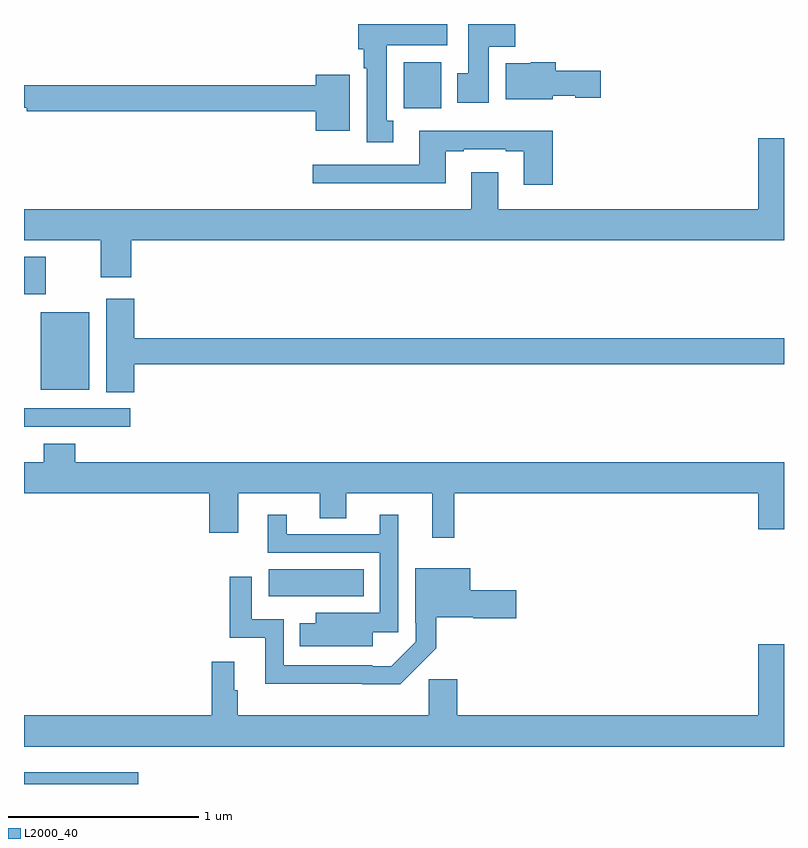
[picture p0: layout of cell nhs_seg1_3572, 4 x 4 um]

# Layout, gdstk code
import gdstk
lib = gdstk.Library(unit=1e-6, precision=1e-09)
def R(c, l, rs):  # rectangles x0, y0, x1, y1
    for r in rs: c.add(gdstk.rectangle(r[:2], r[2:], *l))
def P(c, l, *ps):  # polygons
    for p in ps: c.add(gdstk.Polygon(p, *l))
L2000_40 = (2000, 40)

nhs_seg1_3572 = lib.new_cell('nhs_seg1_3572')
R(nhs_seg1_3572, L2000_40, [(305,554.199,305.602,554.26), (306.288,555.188,306.788,555.328), (305,556.08,305.56,556.176), (305.087,556.274,305.344,556.681), (305,556.776,305.115,556.975), (306.998,557.756,307.195,557.998), (306.515,558.198,306.667,558.199)])
P(nhs_seg1_3572, L2000_40, [(307.447,558.08),(307.586,558.08),(307.586,558.199),(307.337,558.199),(307.337,557.94),(307.28,557.94),(307.28,557.784),(307.447,557.784)],
  [(306.943,557.69),(306.91,557.69),(306.91,558.086),(307.228,558.086),(307.228,558.199),(306.758,558.199),(306.758,558.066),(306.788,558.066),(306.788,557.966),(306.803,557.966),(306.803,557.577),(306.943,557.577)],
  [(307.782,557.822),(307.902,557.822),(307.902,557.81),(308.035,557.81),(308.035,557.952),(307.799,557.952),(307.799,557.998),(307.668,557.998),(307.668,557.992),(307.535,557.992),(307.535,557.804),(307.782,557.804)],
  [(306.715,557.932),(306.536,557.932),(306.536,557.876),(305,557.876),(305,557.759),(305.014,557.759),(305.014,557.74),(306.536,557.74),(306.536,557.636),(306.715,557.636)],
  [(307.784,557.638),(307.079,557.638),(307.079,557.457),(306.519,557.457),(306.519,557.36),(307.219,557.36),(307.219,557.529),(307.315,557.529),(307.315,557.541),(307.535,557.541),(307.535,557.529),(307.631,557.529),(307.631,557.352),(307.784,557.352)],
  [(309,557.599),(308.864,557.599),(308.864,557.224),(307.495,557.224),(307.495,557.419),(307.355,557.419),(307.355,557.224),(305,557.224),(305,557.06),(305.404,557.06),(305.404,556.866),(305.564,556.866),(305.564,557.06),(309,557.06)],
  [(305.579,556.408),(309,556.408),(309,556.544),(305.579,556.544),(305.579,556.753),(305.432,556.753),(305.432,556.261),(305.579,556.261)],
  [(307.265,555.728),(308.864,555.728),(308.864,555.54),(309,555.54),(309,555.892),(305.27,555.892),(305.27,555.991),(305.105,555.991),(305.105,555.892),(305,555.892),(305,555.728),(305.975,555.728),(305.975,555.522),(306.127,555.522),(306.127,555.728),(306.557,555.728),(306.557,555.598),(306.697,555.598),(306.697,555.728),(307.148,555.728),(307.148,555.495),(307.265,555.495)],
  [(306.835,554.997),(306.969,554.997),(306.969,555.616),(306.872,555.616),(306.872,555.513),(306.382,555.513),(306.382,555.616),(306.284,555.616),(306.284,555.417),(306.873,555.417),(306.873,555.1),(306.536,555.1),(306.536,555.046),(306.451,555.046),(306.451,554.924),(306.835,554.924)],
  [(307.171,554.914),(307.171,555.076),(307.365,555.076),(307.365,555.071),(307.591,555.071),(307.591,555.218),(307.348,555.218),(307.348,555.334),(307.059,555.334),(307.059,555.049),(307.062,555.049),(307.062,554.949),(306.933,554.82),(306.833,554.82),(306.833,554.823),(306.366,554.823),(306.366,555.066),(306.198,555.066),(306.198,555.289),(306.082,555.289),(306.082,554.97),(306.269,554.97),(306.269,554.726),(306.781,554.726),(306.781,554.724),(306.98,554.724)],
  [(309,554.935),(308.864,554.935),(308.864,554.56),(307.28,554.56),(307.28,554.751),(307.129,554.751),(307.129,554.56),(306.125,554.56),(306.125,554.693),(306.106,554.693),(306.106,554.842),(305.989,554.842),(305.989,554.56),(305,554.56),(305,554.396),(309,554.396)])

lib.write_gds('nhs_seg1_3572.gds')
